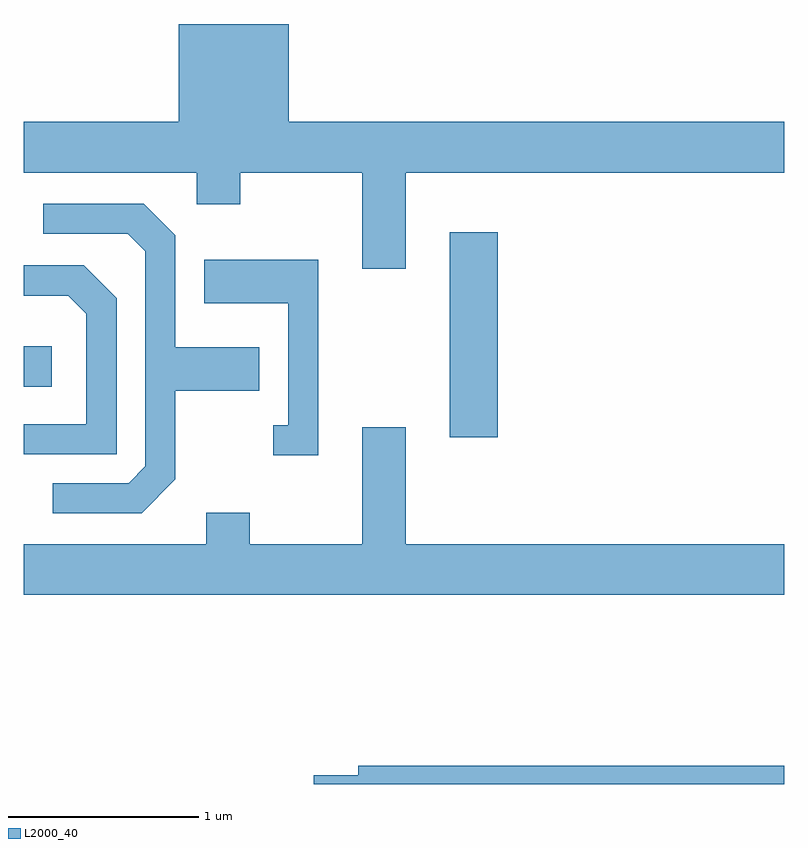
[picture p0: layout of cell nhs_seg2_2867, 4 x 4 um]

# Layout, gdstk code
import gdstk
lib = gdstk.Library(unit=1e-6, precision=1e-09)
def R(c, l, rs):  # rectangles x0, y0, x1, y1
    for r in rs: c.add(gdstk.rectangle(r[:2], r[2:], *l))
def P(c, l, *ps):  # polygons
    for p in ps: c.add(gdstk.Polygon(p, *l))
L2000_40 = (2000, 40)

nhs_seg2_2867 = lib.new_cell('nhs_seg2_2867')
R(nhs_seg2_2867, L2000_40, [(271.851,1013.626,272.104,1014.704), (269.611,1013.891,269.759,1014.104)])
P(nhs_seg2_2867, L2000_40, [(271.619,1015.016),(273.611,1015.016),(273.611,1015.284),(271.004,1015.284),(271.004,1015.799),(270.426,1015.799),(270.426,1015.284),(269.611,1015.284),(269.611,1015.016),(270.521,1015.016),(270.521,1014.851),(270.749,1014.851),(270.749,1015.016),(271.391,1015.016),(271.391,1014.511),(271.619,1014.511)],
  [(270.409,1013.404),(270.409,1013.871),(270.849,1013.871),(270.849,1014.099),(270.409,1014.099),(270.409,1014.687),(270.242,1014.854),(269.713,1014.854),(269.713,1014.696),(270.159,1014.696),(270.251,1014.604),(270.251,1013.472),(270.164,1013.384),(269.763,1013.384),(269.763,1013.226),(270.232,1013.226)],
  [(271.159,1014.559),(270.561,1014.559),(270.561,1014.331),(271.001,1014.331),(271.001,1013.689),(270.923,1013.689),(270.923,1013.531),(271.159,1013.531)],
  [(270.099,1014.357),(269.927,1014.529),(269.611,1014.529),(269.611,1014.371),(269.844,1014.371),(269.941,1014.274),(269.941,1013.694),(269.611,1013.694),(269.611,1013.536),(270.099,1013.536)],
  [(273.611,1013.064),(271.619,1013.064),(271.619,1013.679),(271.391,1013.679),(271.391,1013.064),(270.799,1013.064),(270.799,1013.229),(270.571,1013.229),(270.571,1013.064),(269.611,1013.064),(269.611,1012.796),(273.611,1012.796)],
  [(273.611,1011.899),(271.371,1011.899),(271.371,1011.849),(271.136,1011.849),(271.136,1011.802),(273.611,1011.802)])

lib.write_gds('nhs_seg2_2867.gds')
